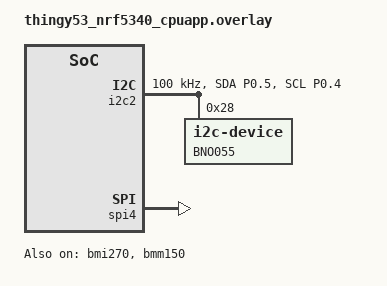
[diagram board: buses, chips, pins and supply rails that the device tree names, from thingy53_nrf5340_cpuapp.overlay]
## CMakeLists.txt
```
cmake_minimum_required(VERSION 3.20.0)
find_package(Zephyr REQUIRED HINTS $ENV{ZEPHYR_BASE})

project(swish-embedded)

target_sources(app PRIVATE 
    src/main.c
    src/bluetooth.c
    src/bno055_driver.c
    src/button.c
    src/onboard_imu.c
    src/quaternion_utils.c
    libs/bno055.c
    libs/mahony.c
)

target_include_directories(app PRIVATE 
    src
    libs
)
```

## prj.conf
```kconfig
CONFIG_GPIO=y
CONFIG_I2C=y
CONFIG_SPI=y

CONFIG_CBPRINTF_FP_SUPPORT=y
CONFIG_PRINTK=y

CONFIG_SENSOR=y
CONFIG_BMI270=y
CONFIG_BMM150=y

CONFIG_CONSOLE=y
CONFIG_UART_CONSOLE=y
CONFIG_STDOUT_CONSOLE=y

CONFIG_BT=y
CONFIG_BT_PERIPHERAL=y
CONFIG_BT_DEVICE_NAME="Nordic_Thingy53"
CONFIG_BT_GATT_DYNAMIC_DB=y
CONFIG_SYSTEM_WORKQUEUE_STACK_SIZE=2048

CONFIG_BT_BUF_ACL_RX_SIZE=251
CONFIG_BT_BUF_ACL_TX_SIZE=251
CONFIG_BT_L2CAP_TX_MTU=247

CONFIG_LOG=y
```

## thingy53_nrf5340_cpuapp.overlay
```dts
// To get started, press Ctrl+Space (or Option+Esc) to bring up the completion menu and view the available nodes.

// You can also use the buttons in the sidebar to perform actions on nodes.
// Actions currently available include:

// * Enabling / disabling the node
// * Adding the bus to a bus
// * Removing the node
// * Connecting ADC channels

// For more help, browse the DeviceTree documentation at https://docs.zephyrproject.org/latest/guides/dts/index.html
// You can also visit the nRF DeviceTree extension documentation at https://docs.nordicsemi.com/bundle/nrf-connect-vscode/page/guides/ncs_configure_app.html#devicetree-support-in-the-extension

&pinctrl {
	i2c2_default: i2c2_default {
		group1 {
			psels = <NRF_PSEL(TWIM_SDA, 0, 5)>,
				<NRF_PSEL(TWIM_SCL, 0, 4)>;
		};
	};

	i2c2_sleep: i2c2_sleep {
		group1 {
			psels = <NRF_PSEL(TWIM_SDA, 0, 5)>,
				<NRF_PSEL(TWIM_SCL, 0, 4)>;
			low-power-enable;
		};
	};
};

&i2c2 {
	compatible = "nordic,nrf-twim";
	status = "okay";
	clock-frequency = <I2C_BITRATE_STANDARD>;

	pinctrl-0 = <&i2c2_default>;
	pinctrl-1 = <&i2c2_sleep>;
	pinctrl-names = "default", "sleep";

        bno055: bno055@28 {
            compatible = "i2c-device";
            reg = <0x28>;
            label = "BNO055";
        };
};

&spi4 {
    compatible = "nordic,nrf-spim";
    status = "okay";
    cs-gpios = <&gpio1 4 GPIO_ACTIVE_LOW>;  // P1.04 for CS
    pinctrl-0 = <&spi4_default>;
    pinctrl-1 = <&spi4_sleep>;
    pinctrl-names = "default", "sleep";
};

&bmi270 {
    status = "okay";
    spi-max-frequency = <8000000>;
};

&bmm150 {
    status = "okay";
    //spi-max-frequency = <8000000>;
};
```

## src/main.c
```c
#include <zephyr/kernel.h>
#include <stdio.h>
#include "bno055_driver.h"
#include "onboard_imu.h"
#include "bluetooth.h"
#include "quaternion_utils.h"
#include "button.h"

#define SLEEP_TIME_MS 10 // sensor frequency is 100 Hz
#define RECALIBRATION_PERIOD 20 // in seconds


int main(void)
{
    // Initialize button
    setup_button();

    // Initialize BLE
    if (!init_bluetooth()) {
        printk("Bluetooth initialization failed\n");
        return -1;
    }

    // Initialize BNO055
    if (!init_bno055()) {
        printk("BNO055 initialization failed\n");
        return -1;
    }

    // Initialize onboard IMU
    if (!init_onboard_imu()) {
        printk("Onboard IMU initialization failed\n");
        return -1;
    }

    // Variables for printing data periodically
    int counter = 1;

    // Main loop
    while (true) {
        // Read and process BNO055 data
        update_bno055_data();
        
        // Read and process onboard IMU data
        update_onboard_imu_data();
        
        // Calculate relative quaternions
        calculate_relative_quaternions();
        
        // Convert quaternion to rotation matrix and send over BLE
        // update_rotation_matrix_and_notify();
        send_scaled_imu_data();
        
        // Print data every 1 sec (100 cycles at 10ms intervals)
        if (counter % 100 == 0) {
            printk("BNO Relative Quaternion: Q0=%.4f, Q1=%.4f, Q2=%.4f, Q3=%.4f\n", q0_rel_bno, q1_rel_bno, q2_rel_bno, q3_rel_bno);
            printk("Onboard Sensor Quaternion: Q0=%.4f, Q1=%.4f, Q2=%.4f, Q3=%.4f\n", q0_rel_onboard, q1_rel_onboard, q2_rel_onboard, q3_rel_onboard);
            counter = 0;
        }
        counter++;

        k_msleep(SLEEP_TIME_MS);
    }
    
    return 0;
}
```

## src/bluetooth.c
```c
#include "bluetooth.h"
#include <stdio.h>
#include <stdint.h>              // For int64_t, ADDED
#include <zephyr/sys/byteorder.h>

#define IMU_OUT_INDEX 1
#define TIME_SYNC_INDEX 3

#define DEVICE_NAME     CONFIG_BT_DEVICE_NAME
#define DEVICE_NAME_LEN (sizeof(DEVICE_NAME) - 1)

/* Define UUIDs: used to define services, characteristics, and/or descriptors in context of BLE
   UUIDs are used for the phone and BLE client to know what kind of data is being sent
   Although there are some standard features (UUIDs), you can define your own UUIDs for custom services
*/

#define BT_UUID_IMU_SERVICE_VAL BT_UUID_128_ENCODE(0x12345678, 0x1234, 0x5678, 0x1234, 0x123456789ABC)
#define BT_UUID_IMU_CHAR_VAL BT_UUID_128_ENCODE(0x87654321, 0x4321, 0x6789, 0x4321, 0xCBA987654321)
#define BT_UUID_TIME_SYNC_CHAR_VAL BT_UUID_128_ENCODE(0x44444444, 0x4444, 0x4444, 0x4444, 0x444444444444)

static struct bt_uuid_128 imu_service_uuid = BT_UUID_INIT_128(BT_UUID_IMU_SERVICE_VAL);
static struct bt_uuid_128 imu_char_uuid = BT_UUID_INIT_128(BT_UUID_IMU_CHAR_VAL);
static struct bt_uuid_128 time_sync_char_uuid = BT_UUID_INIT_128(BT_UUID_TIME_SYNC_CHAR_VAL);

// uint8_t imu_data_combined[108];  // Buffer to hold 3×3 rotation matrix (9 floats * 4 bytes)
static struct bt_conn *default_conn = NULL;

static void notify_time_sync_t0();

/* Bluetooth Advertisement Data */
static const struct bt_data ad[] = {
    BT_DATA_BYTES(BT_DATA_FLAGS, (BT_LE_AD_GENERAL | BT_LE_AD_NO_BREDR)),
    BT_DATA(BT_DATA_NAME_COMPLETE, DEVICE_NAME, DEVICE_NAME_LEN),
};

static const struct bt_data sd[] = {
    BT_DATA_BYTES(BT_DATA_UUID128_ALL, BT_UUID_IMU_SERVICE_VAL),
};


static struct bt_conn_cb conn_callbacks = {
    .connected       = connected,
    .disconnected    = disconnected,
};

// declaring prototype before struct call, and defining after for cleanliness
static void imu_ccc_cfg_changed(const struct bt_gatt_attr *attr, uint16_t value);

// Necessary for imu_service_attrs[]
static bool imu_notifications_enabled = false;

/* Bluetooth GATT Service */
static struct bt_gatt_attr imu_service_attrs[] = {
   // Primary IMU Service Declaration
   BT_GATT_PRIMARY_SERVICE(&imu_service_uuid),

   // IMU Characteristic with READ and NOTIFY --- INDEX 1
   BT_GATT_CHARACTERISTIC(&imu_char_uuid.uuid,
                        BT_GATT_CHRC_READ | BT_GATT_CHRC_NOTIFY,  // Notify enabled
                        BT_GATT_PERM_READ,                        // Read permitted
                        read_callback, NULL, imu_data_combined),  // Handles read correctly

   // CCC for IMU Notifications
   BT_GATT_CCC(imu_ccc_cfg_changed,                                // IMU Notify subscription
               BT_GATT_PERM_READ | BT_GATT_PERM_WRITE),

   // Time Sync Characteristic with WRITE --- INDEX 3
   BT_GATT_CHARACTERISTIC(&time_sync_char_uuid.uuid,
                          BT_GATT_CHRC_WRITE,                      // Write only
                          BT_GATT_PERM_WRITE,
                          NULL, time_sync_write_cb, NULL),          // Time sync write callback

    BT_GATT_CCC(NULL, BT_GATT_PERM_READ | BT_GATT_PERM_WRITE),
};

static struct bt_gatt_service imu_service = BT_GATT_SERVICE(imu_service_attrs);


bool init_bluetooth(void) {
    int err;

    printk("Starting IMU BLE Peripheral\n");

    err = bt_enable(NULL);
    if (err) {
        printk("Bluetooth init failed (err %d)\n", err);
        return false;
    }

    printk("Bluetooth initialized\n");

    bt_conn_cb_register(&conn_callbacks);
    bt_gatt_service_register(&imu_service);

    /* DEBUG STARTS HERE */

    int errorr = bt_gatt_service_register(&imu_service);
    if (err != 0) {
        printk("❌ bt_gatt_service_register() failed: %d\n", err);  // -EINVAL, -ENOMEM, etc.
    }

    /* DEBUG ENDS HERE */

    err = bt_le_adv_start(BT_LE_ADV_CONN, ad, ARRAY_SIZE(ad), sd, ARRAY_SIZE(sd));
    if (err) {
        printk("Advertising failed to start (err %d)\n", err);
        return false;
    }

    printk("Advertising started\n");
    return true;
}

static void imu_ccc_cfg_changed(const struct bt_gatt_attr *attr, uint16_t value) {
    if (value == BT_GATT_CCC_NOTIFY) {
        imu_notifications_enabled = true;
        printk("✅ IMU notifications enabled\n");
    } else {
        imu_notifications_enabled = false;
        printk("❌ IMU notifications disabled\n");
    }
}


/* Callback for when a device connects */
void connected(struct bt_conn *conn, uint8_t err) {
    if (err) {
        printk("Connection failed, err 0x%02x\n", err);
        return;

    }else{
        printk("Connected\n");

        default_conn = bt_conn_ref(conn);

        notify_time_sync_t0(); // get the time offset value
    }

    // // Request 2M PHY after connection
    // struct bt_conn_le_phy_param phy_pref = {
    //     .options = 0, // no coded PHY options needed
    //     .pref_tx_phy = BT_GAP_LE_PHY_2M,
    //     .pref_rx_phy = BT_GAP_LE_PHY_2M,
    // };

    // int ret = bt_conn_le_phy_update(conn, &phy_pref);
    // if (ret) {
    //     printk("PHY update failed: %d\n", ret);
    // } else {
    //     printk("Requested 2M PHY\n");
    // }   
}

/* Callback for when a device disconnects */
void disconnected(struct bt_conn *conn, uint8_t reason) {
    printk("Disconnected, reason 0x%02x\n", reason);
    if (default_conn) {
        bt_conn_unref(default_conn);
        default_conn = NULL;
    }
}

ssize_t read_callback(struct bt_conn *conn, const struct bt_gatt_attr *attr,
                     void *buf, uint16_t len, uint16_t time_offset_estimate) {
    const char *value = attr->user_data;
    return bt_gatt_attr_read(conn, attr, buf, len, time_offset_estimate, value, strlen(value));
}

/* Notify IMU Data */
extern void notify_imu_data(void) {
    if (default_conn) {
        bt_gatt_notify(default_conn, &imu_service_attrs[IMU_OUT_INDEX], imu_data_combined, sizeof(imu_data_combined));
    }
}

// void update_rotation_matrix_and_notify(void) {
//     quaternion_to_rot_mat(q0_rel_bno, q1_rel_bno, q2_rel_bno, q3_rel_bno, rot_mat);
    
//     // Convert rotation matrix to byte array for BLE transmission
//     for (int i = 0; i < 9; i++) {
//         sys_put_le32(*(uint32_t *)&rot_mat[i / 3][i % 3], &imu_data[i * 4]);
//     }
//     notify_imu_data();
// }

/*
    * Time Sync Service that aligns IMU data with phone time through a reasonable estimate of the offset
    */
static ssize_t time_sync_write_cb(struct bt_conn *conn,
    const struct bt_gatt_attr *attr,
    const void *buf,
    uint16_t len,
    uint16_t time_offset_estimate,
    uint8_t flags) {
    if (len < sizeof(uint64_t) + sizeof(uint64_t)) {
        printk("Invalid time sync payload length\n");
        return BT_GATT_ERR(BT_ATT_ERR_INVALID_ATTRIBUTE_LEN);
    }

    const uint8_t *data = buf;

    uint64_t phone_time;
    uint64_t device_echo_time;

    // Copy 8 bytes from buf[0:8] into phone_time
    memcpy(&phone_time, &data[0], sizeof(uint64_t));
    
    // Copy 8 bytes from buf[8:16] into device_echo_time
    memcpy(&device_echo_time, &data[8], sizeof(uint64_t));

    uint64_t device_recv_time = k_uptime_get();  // get current uptime in ms

    time_offset_estimate = (int64_t)phone_time - ((int64_t)device_echo_time + (int64_t)device_recv_time) / 2;

    printk("  Time Sync:\n");
    printk("  Phone Time     : %llu\n", phone_time);
    printk("  Device Echo    : %llu\n", device_echo_time);
    printk("  Device Recv    : %llu\n", device_recv_time);
    printk("  Offset Estimate: %lld ms\n", (long long)time_offset_estimate);

    // Store offset globally if needed
    // time_offset_ms = offset;

    return len;
}

static void notify_time_sync_t0(void) {
    if (!default_conn) return;


    uint64_t t0 = k_uptime_get();

    printk("📤 Sending time sync t₀: %llu ms\n", t0);

    bt_gatt_notify(default_conn, &imu_service_attrs[TIME_SYNC_INDEX], &t0, sizeof(t0));
}
```

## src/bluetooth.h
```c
#ifndef BLUETOOTH_H
#define BLUETOOTH_H

#include <zephyr/kernel.h>
#include <zephyr/bluetooth/bluetooth.h>
#include <zephyr/bluetooth/hci.h>
#include <zephyr/bluetooth/conn.h>
#include <zephyr/bluetooth/uuid.h>
#include <zephyr/bluetooth/gatt.h>
#include <stdbool.h>

#include "quaternion_utils.h"
#include  <zephyr/bluetooth/hci.h>

// Initialize Bluetooth functionality
bool init_bluetooth(void);

// Notify IMU data over BLE
extern void notify_imu_data(void);

// // Update rotation matrix and send it over BLE
// void update_rotation_matrix_and_notify(void);

// BLE connection callbacks
void connected(struct bt_conn *conn, uint8_t err);
void disconnected(struct bt_conn *conn, uint8_t reason);
ssize_t read_callback(struct bt_conn *conn, const struct bt_gatt_attr *attr,
                     void *buf, uint16_t len, uint16_t offset);
static ssize_t time_sync_write_cb(struct bt_conn *conn,
                                  const struct bt_gatt_attr *attr,
                                  const void *buf,
                                  uint16_t len,
                                  uint16_t time_offset_estimate,
                                  uint8_t flags);
#endif // BLUETOOTH_H
```

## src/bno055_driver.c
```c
#include "bno055_driver.h"
#include <stdio.h>
#include <zephyr/sys/byteorder.h>

#define BNO055_EXPECTED_CHIP_ID 0xA0    // from datasheet
#define I2C2_NODE DT_NODELABEL(bno055)
#define PI 3.14159265358979323846

static const struct i2c_dt_spec dev_i2c = I2C_DT_SPEC_GET(I2C2_NODE);

/* Adding Bosch i2c device struct and creating wrappers to be able to use bosch driver functions*/
static struct bno055_t bno055_device;

static s8 zephyr_bno055_bus_write(u8 dev_addr, u8 reg_addr, u8 *reg_data, u8 len) {
    return i2c_burst_write(dev_i2c.bus, dev_addr, reg_addr, reg_data, len) == 0 ? BNO055_SUCCESS : BNO055_ERROR;
}

static s8 zephyr_bno055_bus_read(u8 dev_addr, u8 reg_addr, u8 *reg_data, u8 len) {
    return i2c_burst_read(dev_i2c.bus, dev_addr, reg_addr, reg_data, len) == 0 ? BNO055_SUCCESS : BNO055_ERROR;
}

static void zephyr_bno055_delay(u32 msec) {
    k_msleep(msec);
}


// Quaternion variables
float q0, q1, q2, q3;
float q0_ref_bno, q1_ref_bno, q2_ref_bno, q3_ref_bno;
float q0_rel_bno, q1_rel_bno, q2_rel_bno, q3_rel_bno;

void print_i2c_error(int error)
{
    switch (error) {
        case -EIO:
            printk("Error: Input/Output error\n");
            break;
        case -EBUSY:
            printk("Error: Device or resource busy\n");
            break;
        case -ENOTSUP:
            printk("Error: Operation not supported\n");
            break;
        default:
            printk("Error: Unknown error code %d\n", error);
    }
}

int read_chip_id(void)
{
    uint8_t chip_id;
    int ret = i2c_write_read_dt(&dev_i2c, &(uint8_t){BNO055_CHIP_ID_ADDR}, 1, &chip_id, 1);
    if (ret != 0) {
        printk("Failed to read chip ID. Error code: %d\n", ret);
        print_i2c_error(ret);
        return ret;
    }
    return (chip_id == BNO055_EXPECTED_CHIP_ID) ? 0 : -1;
}

int set_operation_mode(uint8_t operation_mode)
{
    uint8_t config[2] = {BNO055_OPR_MODE_ADDR, operation_mode};
    int ret = i2c_write_dt(&dev_i2c, config, sizeof(config));
    if (ret != 0) {
        printk("Failed to set operation mode. Error code: %d\n", ret);
        print_i2c_error(ret);
    } else {
        printk("Operation mode set successfully\n");
    }
    return ret;
}

void i2c_scan(const struct i2c_dt_spec *dev_i2c)
{
    if (!device_is_ready(dev_i2c->bus)) {
        printk("I2C: Device is not ready.\n");
        return;
    }

    printk("I2C: Scanning bus for devices...\n");

    for (uint8_t addr = 0; addr <= 0x7F; addr++) {
        struct i2c_msg msgs[1];
        uint8_t dst;

        /* Send the address to read from */
        msgs[0].buf = &dst;
        msgs[0].len = 0;
        msgs[0].flags = I2C_MSG_WRITE | I2C_MSG_STOP;

        if (i2c_transfer(dev_i2c->bus, &msgs[0], 1, addr) == 0) {
            printk("I2C: Device found at address 0x%2x\n", addr);
        }
    }

    printk("I2C: Scan complete\n");
}

void update_bno055_data(void)
{
    uint8_t quaternion_data[8];
    int16_t q0_raw, q1_raw, q2_raw, q3_raw;

    if (i2c_burst_read_dt(&dev_i2c, BNO055_QUATERNION_DATA_W_LSB_ADDR, 
                          quaternion_data, sizeof(quaternion_data)) < 0) {
        printk("Failed to read quaternion data\n");
    } else {
        q0_raw = (int16_t)((quaternion_data[1] << 8) | quaternion_data[0]);
        q1_raw = (int16_t)((quaternion_data[3] << 8) | quaternion_data[2]);
        q2_raw = (int16_t)((quaternion_data[5] << 8) | quaternion_data[4]);
        q3_raw = (int16_t)((quaternion_data[7] << 8) | quaternion_data[6]);
        
        // Convert raw values to floating-point values
        q0 = q0_raw / 16384.0f;
        q1 = q1_raw / 16384.0f;
        q2 = q2_raw / 16384.0f;
        q3 = q3_raw / 16384.0f;
    }
}

bool init_bno055(void)
{
    printk("Starting BNO055 I2C debug\n");

    /* Bosch wrapper code */
    bno055_device.dev_addr = dev_i2c.addr;
    bno055_device.bus_write = zephyr_bno055_bus_write;
    bno055_device.bus_read = zephyr_bno055_bus_read;
    bno055_device.delay_msec = zephyr_bno055_delay;
    bno055_init(&bno055_device);  // Now p_bno055 is ready


    i2c_scan(&dev_i2c);

    int ret = read_chip_id();
    if (ret != 0) {
        printk("Failed to verify BNO055 chip ID\n");
        return false;
    }

    ret = set_operation_mode(BNO055_OPERATION_MODE_IMUPLUS);
    if (ret != 0) {
        printk("Failed to set BNO055 operation mode\n");
        return false;
    }

    printk("BNO055 initialization complete\n");
    return true;
}

bool fetch_gyro_values_rps(float *gyro_values) {
    struct bno055_gyro_t gyro_raw;
    BNO055_RETURN_FUNCTION_TYPE result = bno055_read_gyro_xyz(&gyro_raw);
    if (result != BNO055_SUCCESS) {
        return false;
    }

    const float dps_scale = 1.0f / 16.0f;
    const float deg_to_rad = (PI / 180.0f);

    gyro_values[0] = ((float)gyro_raw.x * dps_scale) * deg_to_rad;
    gyro_values[1] = ((float)gyro_raw.y * dps_scale) * deg_to_rad;
    gyro_values[2] = ((float)gyro_raw.z * dps_scale) * deg_to_rad;

    return true;
}

bool fetch_linear_accel(float *linear_accel_values) {
    struct bno055_linear_accel_t accel_raw;
    u8 buffer[6];
    BNO055_RETURN_FUNCTION_TYPE result = bno055_read_linear_accel_xyz(&accel_raw);

    if (result != BNO055_SUCCESS) {
        return false;
    }

    linear_accel_values[0] = (float)accel_raw.x / BNO055_LINEAR_ACCEL_DIV_MSQ;
    linear_accel_values[1] = (float)accel_raw.y / BNO055_LINEAR_ACCEL_DIV_MSQ;
    linear_accel_values[2] = (float)accel_raw.z / BNO055_LINEAR_ACCEL_DIV_MSQ;

    return true;
}
```

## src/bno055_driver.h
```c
#ifndef BNO055_DRIVER_H
#define BNO055_DRIVER_H

#include <zephyr/kernel.h>
#include <zephyr/drivers/i2c.h>
#include <zephyr/drivers/sensor.h>
#include <stdbool.h>
#include "bno055.h"

// Initialize BNO055 sensor
bool init_bno055(void);

// Scan I2C bus for devices
void i2c_scan(const struct i2c_dt_spec *dev_i2c);

// Read and update BNO055 data
void update_bno055_data(void);

// Read BNO055 chip ID
int read_chip_id(void);

// Set BNO055 operation mode
int set_operation_mode(uint8_t operation_mode);

// Print I2C error codes
void print_i2c_error(int error);

// fetch gyro data
bool fetch_gyro_values_rps(float *gyro_values);

// fetch linear accel
bool fetch_linear_accel(float *linear_accel_values);

// External quaternion data
extern float q0, q1, q2, q3;
extern float q0_ref_bno, q1_ref_bno, q2_ref_bno, q3_ref_bno;
extern float q0_rel_bno, q1_rel_bno, q2_rel_bno, q3_rel_bno;

#endif // BNO055_DRIVER_H
```

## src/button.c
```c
#include "button.h"
#include "bno055_driver.h"
#include "onboard_imu.h"
#include <stdio.h>

#define BUTTON_NODE DT_NODELABEL(button0)

static const struct device *button_dev = DEVICE_DT_GET(DT_GPIO_CTLR(BUTTON_NODE, gpios));
static const gpio_pin_t button_pin = DT_GPIO_PIN(BUTTON_NODE, gpios);
static const gpio_flags_t button_flags = DT_GPIO_FLAGS(BUTTON_NODE, gpios);

/* Callback function for button press */
static struct gpio_callback button_cb_data;

/* Work queue definition */
K_WORK_DEFINE(i2c_work, i2c_work_handler);

void button_pressed(const struct device *dev, struct gpio_callback *cb, uint32_t pins) {
    k_work_submit(&i2c_work);
}

void setup_button(void) {
    /* Configure button as input with pull-up and interrupt */
    int ret = gpio_pin_configure(button_dev, button_pin, GPIO_INPUT | button_flags);
    if (ret < 0) {
        printk("Error configuring button GPIO\n");
        return;
    }

    /* Set up interrupt */    
    ret = gpio_pin_interrupt_configure(button_dev, button_pin, GPIO_INT_EDGE_TO_ACTIVE);
    if (ret < 0) {
        printk("Error configuring button interrupt\n");
        return;
    }

    gpio_init_callback(&button_cb_data, button_pressed, BIT(button_pin));
    gpio_add_callback(button_dev, &button_cb_data);
}

/* Function to handle I2C operation (runs in work queue) */
void i2c_work_handler(struct k_work *work) {
    printk("Resetting Quaternions Reference\n");
    
    // Save current quaternions as reference
    q0_ref_bno = q0;
    q1_ref_bno = q1;
    q2_ref_bno = q2;
    q3_ref_bno = q3;

    q0_ref_onboard = qq0;
    q1_ref_onboard = qq1;
    q2_ref_onboard = qq2;
    q3_ref_onboard = qq3;
}
```

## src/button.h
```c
#ifndef BUTTON_H
#define BUTTON_H

#include <zephyr/kernel.h>
#include <zephyr/drivers/gpio.h>

// Initialize button
void setup_button(void);

// Button pressed callback
void button_pressed(const struct device *dev, struct gpio_callback *cb, uint32_t pins);

// Work queue handler for button press
void i2c_work_handler(struct k_work *work);

#endif // BUTTON_H
```

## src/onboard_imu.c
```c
#include "onboard_imu.h"
#include <stdio.h>
#include <math.h>

#define STATIONARY_THRESHOLD 0.03f // to consider the gyro stationary in rad/s

const struct device *const bmi = DEVICE_DT_GET(DT_NODELABEL(bmi270));
const struct device *const mag = DEVICE_DT_GET(DT_NODELABEL(bmm150));

// Sensor data variables
float accel_data[3] = {0.0f, 0.0f, 0.0f};
float gyro_data[3] = {0.0f, 0.0f, 0.0f};
float mag_data[3] = {0.0f, 0.0f, 0.0f};

float accel_offset[3] = {0.0f, 0.0f, 0.0f};
float gyro_offset[3] = {0.0f, 0.0f, 0.0f};

// Filter variables
float alpha = 0.2f; // Filter coefficient (0.01 to 0.2 is typical)
float filtered_value_x = 0.0f;
float filtered_value_y = 0.0f;

// Quaternion variables
volatile float q0_ref_onboard, q1_ref_onboard, q2_ref_onboard, q3_ref_onboard;
volatile float q0_rel_onboard, q1_rel_onboard, q2_rel_onboard, q3_rel_onboard;

void calibrate_sensor(const struct device *dev) {
    int samples = 100;
    float accel_sum[3] = {0.0f, 0.0f, 0.0f};
    float gyro_sum[3] = {0.0f, 0.0f, 0.0f};
    struct sensor_value accel[3], gyro[3];	
    
    printk("Calibrating sensor - keep device still...\n");
    
    // Collect samples while device is still
    for (int i = 0; i < samples; i++) {
        sensor_sample_fetch(dev);
        sensor_channel_get(dev, SENSOR_CHAN_ACCEL_XYZ, accel);
        sensor_channel_get(dev, SENSOR_CHAN_GYRO_XYZ, gyro);
        
        // Convert sensor_value to float and accumulate
        for (int j = 0; j < 3; j++) {
            float accel_val = sensor_value_to_float(&accel[j]);
            float gyro_val = sensor_value_to_float(&gyro[j]);
            
            accel_sum[j] += accel_val;
            gyro_sum[j] += gyro_val;
        }
        
        k_sleep(K_MSEC(10)); // Based on 100 Hz sampling rate
    }
    
    // Calculate average offset
    for (int i = 0; i < 3; i++) {
        accel_offset[i] = accel_sum[i] / samples;
        gyro_offset[i] = gyro_sum[i] / samples;
    }
    
    printk("Calibration complete.\n");
    printk("Accel offsets: X:%f Y:%f Z:%f\n", 
           accel_offset[0], accel_offset[1], accel_offset[2]);
    printk("Gyro offsets: X:%f Y:%f Z:%f\n", 
           gyro_offset[0], gyro_offset[1], gyro_offset[2]);
}

void get_calibrated_readings(const struct device *dev, struct sensor_value *acc, struct sensor_value *gyr, float *accel, float *gyro) {
    
    sensor_sample_fetch(dev);
    sensor_channel_get(dev, SENSOR_CHAN_ACCEL_XYZ, acc);
    sensor_channel_get(dev, SENSOR_CHAN_GYRO_XYZ, gyr);
    
    // Apply offsets except for Z-axis
    for (int i = 0; i < 3; i++) {
        gyro[i] = (sensor_value_to_float(&gyr[i]) - gyro_offset[i]); // convert from dps to radians *PI/180.0f
    }
    accel[0] = (sensor_value_to_float(&acc[0]) - accel_offset[1]); // *9.80655f if in G
    accel[1] = (sensor_value_to_float(&acc[1]) - accel_offset[1]);
    accel[2] = sensor_value_to_float(&acc[2]);
}

void configure_sensors(const struct device *dev, enum sensor_channel chan, struct sensor_value *full_scale, struct sensor_value *sampling_freq, struct sensor_value *oversampling) {
    
    if(sampling_freq != NULL) {
        sensor_attr_set(dev, chan, SENSOR_ATTR_SAMPLING_FREQUENCY, sampling_freq);
    }
    if(full_scale != NULL) {
        sensor_attr_set(dev, chan, SENSOR_ATTR_FULL_SCALE, full_scale);
    }

    if(oversampling != NULL) {
        sensor_attr_set(dev, chan, SENSOR_ATTR_OVERSAMPLING, oversampling);
    }
}

void configure_thingy_sensors(const struct device *accgyro, const struct device *mag) {
    
    struct sensor_value full_scale, sampling_freq, oversampling;

    // Configure accelerometer
    /* Setting scale in G, due to loss of precision if the SI unit m/s^2
     * is used
     */
    full_scale.val1 = 2;            /* 2G of scale */
    full_scale.val2 = 0;
    sampling_freq.val1 = 100;       /* Hz. Performance mode */
    sampling_freq.val2 = 0;
    oversampling.val1 = 16;          /* Choose one of: 1, 2, 4, 8, 16, 32, 64, 128 unless in Performance mode (>=100 Hz) */
    oversampling.val2 = 0;

    configure_sensors(accgyro, SENSOR_CHAN_ACCEL_XYZ, &full_scale, &sampling_freq, &oversampling);

    // Configure gyroscope
    full_scale.val1 = 500;          /* dps */
    full_scale.val2 = 0;
    sampling_freq.val1 = 100;       /* Hz. Performance mode */
    sampling_freq.val2 = 0;
    oversampling.val1 = 4;          /* max oversampling for gyroscope */
    oversampling.val2 = 0;

    configure_sensors(accgyro, SENSOR_CHAN_GYRO_XYZ, &full_scale, &sampling_freq, &oversampling);

    // Configure magnetometer XY axis
    oversampling.val1 = 15;          // Repetition for X and Y axes, range 1-511
    oversampling.val2 = 0;

    configure_sensors(mag, SENSOR_CHAN_MAGN_X, NULL, NULL, &oversampling);
    
    oversampling.val1 = 27;          // Repetition for Z axis, range 1-256
    configure_sensors(mag, SENSOR_CHAN_MAGN_Z, NULL, NULL, &oversampling);

    sampling_freq.val1 = 30;       // Hz. from device code, supported frequencies are 2,6,8,10,15,20,25 and 30 Hz
    sampling_freq.val2 = 0;
    configure_sensors(mag, SENSOR_CHAN_MAGN_XYZ, NULL, &sampling_freq, NULL);
}

void check_device_ready(const struct device *bmi, const struct device *mag) {
    if (!device_is_ready(bmi)) {
        printf("Device %s is not ready\n", bmi->name);
        return;
    }

    printf("Device %p name is %s\n", bmi, bmi->name);

    if (!device_is_ready(mag)) {
        printk("Device %s is not ready\n", mag->name);
        return;
    }

    printk("Device %p name is %s\n", mag, mag->name);

    configure_thingy_sensors(bmi, mag);
}

float lowPassFilter(float new_value, float *filtered_value, float alpha) {
    *filtered_value = alpha * new_value + (1 - alpha) * (*filtered_value);
    return *filtered_value;
}

bool is_gyro_stationary(const struct device *dev) {
    struct sensor_value gyro[3];
    double gx, gy, gz;
    double magnitude;
    
    /* Fetch current gyro values */
    sensor_sample_fetch(dev);
    sensor_channel_get(dev, SENSOR_CHAN_GYRO_XYZ, gyro);
    
    /* Convert to rad/s and compute magnitude */
    gx = sensor_value_to_double(&gyro[0]);
    gy = sensor_value_to_double(&gyro[1]);
    gz = sensor_value_to_double(&gyro[2]);
    
    magnitude = sqrt(gx*gx + gy*gy + gz*gz);
    
    return magnitude < STATIONARY_THRESHOLD;
}

void update_onboard_imu_data(void) {
    struct sensor_value acc[3], gyr[3];
    
    get_calibrated_readings(bmi, acc, gyr, accel_data, gyro_data);

    // Apply the low-pass filter to accel_data[0] and accel_data[1]
    float new_accel_data_x = lowPassFilter(accel_data[0], &filtered_value_x, alpha) - 0.1; // 0.1 is the bias
    float new_accel_data_y = lowPassFilter(accel_data[1], &filtered_value_y, alpha);
    
    MahonyAHRSupdateIMU(gyro_data[0], gyro_data[1], gyro_data[2], 
                         new_accel_data_x, new_accel_data_y, accel_data[2]);
    
    // Mahony algorithm updates qq0, qq1, qq2, qq3 internally
}

bool init_onboard_imu(void) {
    printk("Starting onboard IMU initialization\n");

    check_device_ready(bmi, mag);
    k_sleep(K_MSEC(10000)); // Wait for sensor to stabilize before calibrating
    calibrate_sensor(bmi);

    printk("Onboard IMU initialization complete\n");
    return true;
}

void get_gyro_data(float *gyro_out) {
    struct sensor_value gyr[3];

    // Fetch and get gyroscope data
    sensor_sample_fetch(bmi);
    sensor_channel_get(bmi, SENSOR_CHAN_GYRO_XYZ, gyr);

    // Convert sensor values to float and store in the provided array
    for (int i = 0; i < 3; i++) {
        gyro_out[i] = sensor_value_to_float(&gyr[i]);
    }
}
```

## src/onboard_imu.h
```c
#ifndef ONBOARD_IMU_H
#define ONBOARD_IMU_H

#include <zephyr/kernel.h>
#include <zephyr/drivers/sensor.h>
#include <stdbool.h>
#include "mahony.h"

// Initialize onboard IMU
bool init_onboard_imu(void);

// Calibrate onboard sensor
void calibrate_sensor(const struct device *dev);

// Get calibrated readings from onboard sensor
void get_calibrated_readings(const struct device *dev, struct sensor_value *acc, 
                             struct sensor_value *gyr, float *accel, float *gyro);

// Configure sensor parameters
void configure_sensors(const struct device *dev, enum sensor_channel chan, 
                       struct sensor_value *full_scale, struct sensor_value *sampling_freq, 
                       struct sensor_value *oversampling);

// Configure Thingy sensors
void configure_thingy_sensors(const struct device *accgyro, const struct device *mag);

// Check if devices are ready
void check_device_ready(const struct device *bmi, const struct device *mag);

// Apply low-pass filter to data
float lowPassFilter(float new_value, float *filtered_value, float alpha);

// Check if gyro is stationary
bool is_gyro_stationary(const struct device *dev);

// Update onboard IMU data
void update_onboard_imu_data(void);

void get_gyro_data(float *gyro_out);

// External quaternion data
// extern volatile float qq0, qq1, qq2, qq3;
extern volatile float q0_ref_onboard, q1_ref_onboard, q2_ref_onboard, q3_ref_onboard;
extern volatile float q0_rel_onboard, q1_rel_onboard, q2_rel_onboard, q3_rel_onboard;

#endif // ONBOARD_IMU_H
```

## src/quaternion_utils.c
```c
/**
 * @file quaternion_utils.c
 * @brief Implementation of quaternion manipulation utilities
 */

 #include "quaternion_utils.h"
 #include <zephyr/sys/byteorder.h>
 #include <zephyr/bluetooth/gatt.h>
 #include "bluetooth.h"
 
 // External declarations for BLE functionality
 uint8_t imu_data_combined[34];
 // extern void notify_imu_data(void);

 
 float rot_mat_BNO[3][3];
 float rot_mat_BMI[3][3];
 float bmi_gyro[3];
 float bno_gyro[3];
 float bno_accel[3];
 
 void normalize_quat(float *w, float *x, float *y, float *z) {
     float norm = sqrt((*w) * (*w) + (*x) * (*x) + (*y) * (*y) + (*z) * (*z));
 
     if (norm > 0.0f) {
         *w /= norm;
         *x /= norm;
         *y /= norm;
         *z /= norm;
     }
 }
 
 void quaternion_to_rot_mat(float w, float x, float y, float z, float R[3][3]) {
     // Calculate the rotation matrix elements
     R[0][0] = 1 - 2 * (y * y + z * z);
     R[0][1] = 2 * (x * y - z * w);
     R[0][2] = 2 * (x * z + y * w);
 
     R[1][0] = 2 * (x * y + z * w);
     R[1][1] = 1 - 2 * (x * x + z * z);
     R[1][2] = 2 * (y * z - x * w);
 
     R[2][0] = 2 * (x * z - y * w);
     R[2][1] = 2 * (y * z + x * w);
     R[2][2] = 1 - 2 * (x * x + y * y);
 }
 
 void calculate_relative_quaternions(void) {
     // Calculate relative quaternion for BNO055
     if (q0_ref_bno) {
         float norm_sq = q0_ref_bno * q0_ref_bno + q1_ref_bno * q1_ref_bno + 
                         q2_ref_bno * q2_ref_bno + q3_ref_bno * q3_ref_bno;
 
         // Compute inverse of reference quaternion (conjugate divided by norm squared)
         float q0_ref_inv =  q0_ref_bno / norm_sq;
         float q1_ref_inv = -q1_ref_bno / norm_sq;
         float q2_ref_inv = -q2_ref_bno / norm_sq;
         float q3_ref_inv = -q3_ref_bno / norm_sq;
 
         // Compute relative quaternion (q * q_ref_inv)
         q0_rel_bno = q0 * q0_ref_inv - q1 * q1_ref_inv - q2 * q2_ref_inv - q3 * q3_ref_inv;
         q1_rel_bno = q0 * q1_ref_inv + q1 * q0_ref_inv + q2 * q3_ref_inv - q3 * q2_ref_inv;
         q2_rel_bno = q0 * q2_ref_inv - q1 * q3_ref_inv + q2 * q0_ref_inv + q3 * q1_ref_inv;
         q3_rel_bno = q0 * q3_ref_inv + q1 * q2_ref_inv - q2 * q1_ref_inv + q3 * q0_ref_inv;
 
         normalize_quat(&q0_rel_bno, &q1_rel_bno, &q2_rel_bno, &q3_rel_bno);
     }
 
     // Calculate relative quaternion for onboard IMU
     if (q0_ref_onboard) {
         float norm_sq = q0_ref_onboard * q0_ref_onboard + q1_ref_onboard * q1_ref_onboard + 
                         q2_ref_onboard * q2_ref_onboard + q3_ref_onboard * q3_ref_onboard;
 
         // Compute inverse of reference quaternion (conjugate divided by norm squared)
         float q0_ref_inv =  q0_ref_onboard / norm_sq;
         float q1_ref_inv = -q1_ref_onboard / norm_sq;
         float q2_ref_inv = -q2_ref_onboard / norm_sq;
         float q3_ref_inv = -q3_ref_onboard / norm_sq;
 
         // Compute relative quaternion (q * q_ref_inv)
         q0_rel_onboard = qq0 * q0_ref_inv - qq1 * q1_ref_inv - qq2 * q2_ref_inv - qq3 * q3_ref_inv;
         q1_rel_onboard = qq0 * q1_ref_inv + qq1 * q0_ref_inv + qq2 * q3_ref_inv - qq3 * q2_ref_inv;
         q2_rel_onboard = qq0 * q2_ref_inv - qq1 * q3_ref_inv + qq2 * q0_ref_inv + qq3 * q1_ref_inv;
         q3_rel_onboard = qq0 * q3_ref_inv + qq1 * q2_ref_inv - qq2 * q1_ref_inv + qq3 * q0_ref_inv;
 
         normalize_quat(&q0_rel_onboard, &q1_rel_onboard, &q2_rel_onboard, &q3_rel_onboard);
     }
 }
 
 void update_rotation_matrix_and_notify(void) {
     // Generate rotation matrix from BNO055 relative quaternion
     quaternion_to_rot_mat(q0_rel_bno, q1_rel_bno, q2_rel_bno, q3_rel_bno, rot_mat_BNO);

     // Generate rotation matrix from BMI270 relative quaternion
     quaternion_to_rot_mat(q0_rel_onboard, q1_rel_onboard, q2_rel_onboard, q3_rel_onboard, rot_mat_BMI);
     
     // Convert rotation matrix to little-endian byte array for BLE for BNO055 & BMI270
     for (int i = 0; i < 9; i++) {
        sys_put_le32(*(uint32_t *)&rot_mat_BNO[i / 3][i % 3], &imu_data_combined[i * 4]);
        sys_put_le32(*(uint32_t *)&rot_mat_BMI[i / 3][i % 3], &imu_data_combined[36 + i * 4]);
     }

     // extract and store Gyro data from BMI270 and BNO055
     get_gyro_data(bmi_gyro);
     fetch_gyro_values_rps(bno_gyro);
     
     // extract and store Linear Acceleration from BNO055
     fetch_linear_accel(bno_accel);

     // combine all extracted data into a single array and convert to uint32_t
     for (int i = 0; i < 3; i++) {
        sys_put_le32(*(uint32_t *)&bno_gyro[i], &imu_data_combined[72 + i * 4]);
        sys_put_le32(*(uint32_t *)&bno_accel[i], &imu_data_combined[84 + i * 4]);
        sys_put_le32(*(uint32_t *)&bmi_gyro[i], &imu_data_combined[96 + i * 4]);
    }

     // Notify BLE clients
     notify_imu_data();
 }

 void send_scaled_imu_data() {
    const float scale = 10000.0f;

    // Scale quaternions
    int16_t bno_q[4] = {
        (int16_t)(q0_rel_bno * scale),
        (int16_t)(q1_rel_bno * scale),
        (int16_t)(q2_rel_bno * scale),
        (int16_t)(q3_rel_bno * scale)
    };
    int16_t bmi_q[4] = {
        (int16_t)(q0_rel_onboard * scale),
        (int16_t)(q1_rel_onboard * scale),
        (int16_t)(q2_rel_onboard * scale),
        (int16_t)(q3_rel_onboard * scale)
    };

    // Scale gyro and accel values
    get_gyro_data(bmi_gyro);               // fills bmi_gyro[3]
    fetch_gyro_values_rps(bno_gyro);      // fills bno_gyro[3]
    fetch_linear_accel(bno_accel);        // fills bno_accel[3]

    int16_t bno_gyro_scaled[3], bmi_gyro_scaled[3], bno_accel_scaled[3];
    for (int i = 0; i < 3; i++) {
        bno_gyro_scaled[i]  = (int16_t)(bno_gyro[i]  * scale);
        bmi_gyro_scaled[i]  = (int16_t)(bmi_gyro[i]  * scale);
        bno_accel_scaled[i] = (int16_t)(bno_accel[i] * scale);
    }

    // Pack directly into imu_data_combined[34]
    // Index 0–7: BNO quaternion
    sys_put_le16(bno_q[0], &imu_data_combined[0]);
    sys_put_le16(bno_q[1], &imu_data_combined[2]);
    sys_put_le16(bno_q[2], &imu_data_combined[4]);
    sys_put_le16(bno_q[3], &imu_data_combined[6]);

    // Index 8–15: BMI quaternion
    sys_put_le16(bmi_q[0], &imu_data_combined[8]);
    sys_put_le16(bmi_q[1], &imu_data_combined[10]);
    sys_put_le16(bmi_q[2], &imu_data_combined[12]);
    sys_put_le16(bmi_q[3], &imu_data_combined[14]);

    // Index 16–21: BNO gyro
    sys_put_le16(bno_gyro_scaled[0], &imu_data_combined[16]);
    sys_put_le16(bno_gyro_scaled[1], &imu_data_combined[18]);
    sys_put_le16(bno_gyro_scaled[2], &imu_data_combined[20]);

    // Index 22–27: BMI gyro
    sys_put_le16(bmi_gyro_scaled[0], &imu_data_combined[22]);
    sys_put_le16(bmi_gyro_scaled[1], &imu_data_combined[24]);
    sys_put_le16(bmi_gyro_scaled[2], &imu_data_combined[26]);

    // Index 28–33: BNO accel
    sys_put_le16(bno_accel_scaled[0], &imu_data_combined[28]);
    sys_put_le16(bno_accel_scaled[1], &imu_data_combined[30]);
    sys_put_le16(bno_accel_scaled[2], &imu_data_combined[32]);

    notify_imu_data();  // Send all 34 bytes
}

 void reset_quaternion_reference(void) {
     // Store current quaternions as reference quaternions
     q0_ref_bno = q0;
     q1_ref_bno = q1;
     q2_ref_bno = q2;
     q3_ref_bno = q3;
 
     q0_ref_onboard = qq0;
     q1_ref_onboard = qq1;
     q2_ref_onboard = qq2;
     q3_ref_onboard = qq3;
     
     printk("Quaternion reference reset complete\n");
 }
```

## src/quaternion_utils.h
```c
/**
 * @file quaternion_utils.h
 * @brief Quaternion manipulation utilities for IMU data processing
 */

 #ifndef QUATERNION_UTILS_H
 #define QUATERNION_UTILS_H
 
 #include <zephyr/kernel.h>
 #include "onboard_imu.h"
 #include "bno055_driver.h"
 #include "mahony.h"
 #include <math.h>
 
 extern uint8_t imu_data_combined[34];

 
 /**
  * @brief Normalizes a quaternion to unit length
  * 
  * @param w Pointer to quaternion w component
  * @param x Pointer to quaternion x component
  * @param y Pointer to quaternion y component
  * @param z Pointer to quaternion z component
  */
 void normalize_quat(float *w, float *x, float *y, float *z);
 
 /**
  * @brief Converts a quaternion to a rotation matrix
  * 
  * @param w Quaternion w component
  * @param x Quaternion x component
  * @param y Quaternion y component
  * @param z Quaternion z component
  * @param R Output 3x3 rotation matrix
  */
 void quaternion_to_rot_mat(float w, float x, float y, float z, float R[3][3]);
 
 /**
  * @brief Calculates relative quaternions for both IMUs based on reference quaternions
  */
 void calculate_relative_quaternions(void);
 

 // Update rotation matrix and send it over BLE
 void update_rotation_matrix_and_notify(void); 
  /**
  * @brief Resets the reference quaternions to current orientation
  * Used when button is pressed
  */
 void reset_quaternion_reference(void);

 void send_scaled_imu_data(void);
 
 #endif /* QUATERNION_UTILS_H */
```
